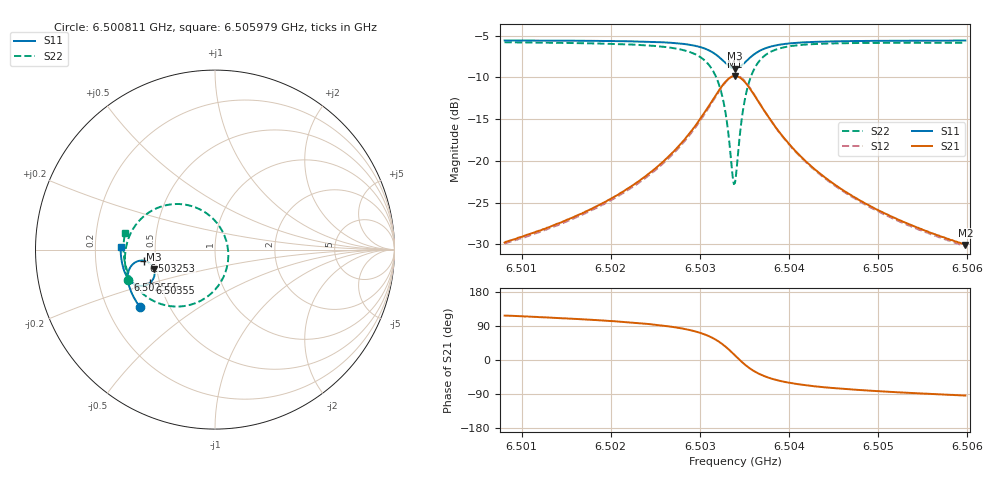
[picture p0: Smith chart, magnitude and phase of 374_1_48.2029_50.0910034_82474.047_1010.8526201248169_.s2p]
#  HZ  S  RI  R  50.00
! Rohde & Schwarz Vector Network Analyzer
! Rohde-Schwarz,ZNB20-2Port,1311601062101988,3.16
! Created: UTC 3/20/2024, 11:52:49 AM
! freq[Hz]  re:S11  im:S11  re:S21  im:S21  re:S12  im:S12  re:S22  im:S22
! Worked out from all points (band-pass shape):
!   401 points, 6.500811 GHz to 6.505979 GHz, reference 50 ohm
!   highest |S21| = -9.83 dB at 6.503395 GHz (marker M1); lowest = -30.1 dB at 6.505979 GHz (marker M2)
!   |S21| within 3 dB of the highest: 6.503137 GHz to 6.503654 GHz (517.1 kHz wide, 0.00795 % of centre)
!   lowest |S11| = -9.0 dB at 6.503395 GHz (marker M3), VSWR 2.11, Z = 24.2 - j6.08 ohm
!   |S11| at or under -10 dB: nowhere
!   |S22| runs from -22.8 to -5.8 dB; largest |S21 - S12| = 0.011
!   S11 on the Smith chart (normalised r, x): 6.500811 GHz: 0.34, -0.30; 6.502555 GHz: 0.33, -0.15; 6.503253 GHz: 0.43, -0.06; 6.50355 GHz: 0.44, -0.20; 6.505979 GHz: 0.31, +0.01
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6.5008105e9  -0.4198 -0.3178  -0.0148 0.0289  -0.0134 0.0291  -0.4856 -0.1669
6.5016762e9  -0.4581 -0.2549  -0.0144 0.0461  -0.0122 0.0458  -0.5011 -0.077
6.5021672e9  -0.4758 -0.2123  -0.0117 0.066  -0.00875 0.0649  -0.499 -0.00888
6.5025419e9  -0.4852 -0.1717  -0.00335 0.094  0.000247 0.0918  -0.4814 0.0639
6.5025548e9  -0.4854 -0.1699  -0.00277 0.0953  0.000878 0.0931  -0.4803 0.0669
6.5028003e9  -0.4849 -0.1349  0.0152 0.1281  0.019 0.1243  -0.4425 0.1362
6.5029812e9  -0.4738 -0.1017  0.0494 0.164  0.0525 0.1586  -0.3753 0.2021
6.5031492e9  -0.4396 -0.0685  0.1256 0.1973  0.127 0.1908  -0.2351 0.2531
6.5032526e9  -0.3974 -0.0614  0.21 0.1889  0.2102 0.1835  -0.0886 0.2265
6.5033042e9  -0.3723 -0.0697  0.2578 0.1616  0.2585 0.157  -0.00916 0.1703
6.5033689e9  -0.3458 -0.0956  0.3051 0.0992  0.3076 0.0943  0.0624 0.0505
6.5033947e9  -0.3395 -0.1099  0.3152 0.0677  0.3183 0.062  0.0733 -0.0083
6.5034076e9  -0.3376 -0.1174  0.3181 0.0511  0.3213 0.045  0.0743 -0.0384
6.5034851e9  -0.3433 -0.1616  0.3019 -0.042  0.3037 -0.0517  0.0184 -0.2015
6.5035497e9  -0.3641 -0.1871  0.2601 -0.0956  0.2589 -0.1063  -0.076 -0.2831
6.5036531e9  -0.4028 -0.202  0.1869 -0.1314  0.1816 -0.1406  -0.2232 -0.3171
6.5038211e9  -0.4483 -0.1921  0.1067 -0.1288  0.0999 -0.1337  -0.3676 -0.2718
6.504002e9  -0.4754 -0.171  0.063 -0.1093  0.0571 -0.1115  -0.4385 -0.2082
6.5042604e9  -0.4961 -0.1409  0.0333 -0.0856  0.0288 -0.0861  -0.4813 -0.1368
6.5046868e9  -0.5126 -0.0975  0.0136 -0.0613  0.0106 -0.0609  -0.5047 -0.0565
6.5051261e9  -0.521 -0.0573  0.00498 -0.0468  0.00277 -0.0462  -0.5096 0.00325
6.5059789e9  -0.5258 0.0144  -0.00214 -0.0313  -0.00343 -0.0307  -0.5015 0.0918
